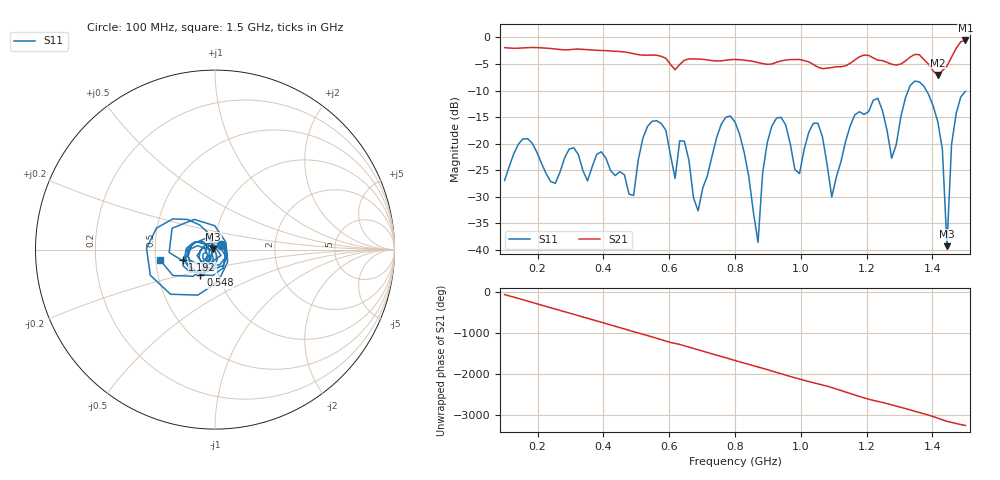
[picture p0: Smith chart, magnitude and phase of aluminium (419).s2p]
! NanoVNA-App
! Date: 2025-09-25 14:58:32
! Start: 100MHz Stop: 1,5GHz Points: 101
! S-Parameter data: F S11 S21 S12 S22
# Hz S RI R 50
!  Frequency  S11_Real  S11_Imag  S21_Real  S21_Imag  S12_Real  S12_Imag  S22_Real  S22_Imag
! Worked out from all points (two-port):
!   101 points, 100 MHz to 1.5 GHz, reference 50 ohm
!   highest |S21| = -0.56 dB at 1.5 GHz (marker M1); lowest = -7.1 dB at 1.416 GHz (marker M2)
!   |S21| within 3 dB of the highest: start of sweep to 576.4 MHz; 1.459 GHz to end of sweep (the widest 2 of 4)
!   lowest |S11| = -39.3 dB at 1.444 GHz (marker M3), VSWR 1.02, Z = 49 + j0.285 ohm
!   |S11| at or under -10 dB: start of sweep to 1.326 GHz; 1.381 GHz to end of sweep
!   S12 and S22 are empty: the file has one direction only
!   S11 on the Smith chart (normalised r, x): 100 MHz: 1.07, +0.06; 548 MHz: 0.82, -0.24; 1.192 GHz: 0.69, -0.08; 1.5 GHz: 0.53, -0.07
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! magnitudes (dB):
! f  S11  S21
! 100 MHz  -27.0  -1.9
! 156 MHz  -19.1  -2.0
! 338 MHz  -25.1  -2.2
! 492 MHz  -29.8  -3.1
! 548 MHz  -15.8  -3.3
! 576 MHz  -16.2  -3.6
! 646 MHz  -19.6  -4.3
! 688 MHz  -32.7  -4.1
! 800 MHz  -15.9  -4.1
! 870 MHz  -38.6  -4.7
! 912 MHz  -16.7  -5.0
! 996 MHz  -25.7  -4.2
! 1.038 GHz  -16.2  -5.1
! 1.094 GHz  -30.1  -5.7
! 1.192 GHz  -14.5  -3.3
! 1.234 GHz  -11.5  -4.3
! 1.276 GHz  -22.8  -5.0
! 1.346 GHz  -8.2  -3.2
! 1.416 GHz  -15.8  -7.1
! 1.444 GHz  -39.3  -5.4
! 1.458 GHz  -20.2  -3.7
! 1.5 GHz  -10.2  -0.6
